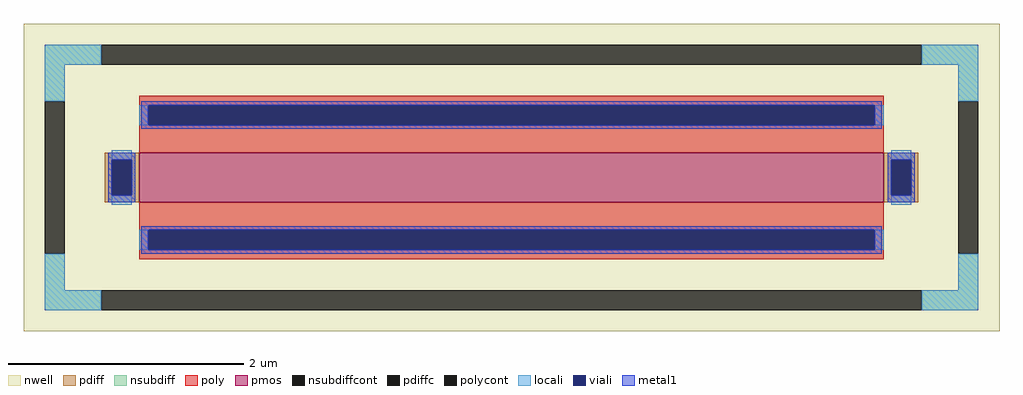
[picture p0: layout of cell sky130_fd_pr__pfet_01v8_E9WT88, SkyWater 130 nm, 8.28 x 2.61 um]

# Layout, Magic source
magic
tech sky130A
magscale 1 2
<< nwell >>
rect -828 -261 828 261
<< pmos >>
rect -632 -42 632 42
<< pdiff >>
rect -690 30 -632 42
rect -690 -30 -678 30
rect -644 -30 -632 30
rect -690 -42 -632 -30
rect 632 30 690 42
rect 632 -30 644 30
rect 678 -30 690 30
rect 632 -42 690 -30
<< pdiffc >>
rect -678 -30 -644 30
rect 644 -30 678 30
<< nsubdiff >>
rect -792 191 -696 225
rect 696 191 792 225
rect -792 129 -758 191
rect 758 129 792 191
rect -792 -191 -758 -129
rect 758 -191 792 -129
rect -792 -225 -696 -191
rect 696 -225 792 -191
<< nsubdiffcont >>
rect -696 191 696 225
rect -792 -129 -758 129
rect 758 -129 792 129
rect -696 -225 696 -191
<< poly >>
rect -632 123 632 139
rect -632 89 -616 123
rect 616 89 632 123
rect -632 42 632 89
rect -632 -89 632 -42
rect -632 -123 -616 -89
rect 616 -123 632 -89
rect -632 -139 632 -123
<< polycont >>
rect -616 89 616 123
rect -616 -123 616 -89
<< locali >>
rect -792 191 -696 225
rect 696 191 792 225
rect -792 129 -758 191
rect 758 129 792 191
rect -632 89 -616 123
rect 616 89 632 123
rect -678 30 -644 46
rect -678 -46 -644 -30
rect 644 30 678 46
rect 644 -46 678 -30
rect -632 -123 -616 -89
rect 616 -123 632 -89
rect -792 -191 -758 -129
rect 758 -191 792 -129
rect -792 -225 -696 -191
rect 696 -225 792 -191
<< viali >>
rect -616 89 616 123
rect -678 -30 -644 30
rect 644 -30 678 30
rect -616 -123 616 -89
<< metal1 >>
rect -628 123 628 129
rect -628 89 -616 123
rect 616 89 628 123
rect -628 83 628 89
rect -684 30 -638 42
rect -684 -30 -678 30
rect -644 -30 -638 30
rect -684 -42 -638 -30
rect 638 30 684 42
rect 638 -30 644 30
rect 678 -30 684 30
rect 638 -42 684 -30
rect -628 -89 628 -83
rect -628 -123 -616 -89
rect 616 -123 628 -89
rect -628 -129 628 -123
<< properties >>
string FIXED_BBOX -775 -208 775 208
string gencell sky130_fd_pr__pfet_01v8
string library sky130
string parameters w 0.42 l 6.323 m 1 nf 1 diffcov 100 polycov 100 guard 1 glc 1 grc 1 gtc 1 gbc 1 tbcov 100 rlcov 100 topc 1 botc 1 poverlap 0 doverlap 1 lmin 0.15 wmin 0.42 compatible {sky130_fd_pr__pfet_01v8  sky130_fd_pr__pfet_01v8_lvt sky130_fd_pr__pfet_01v8_hvt  sky130_fd_pr__pfet_g5v0d10v5} full_metal 1 viasrc 100 viadrn 100 viagate 100 viagb 0 viagr 0 viagl 0 viagt 0
<< end >>
